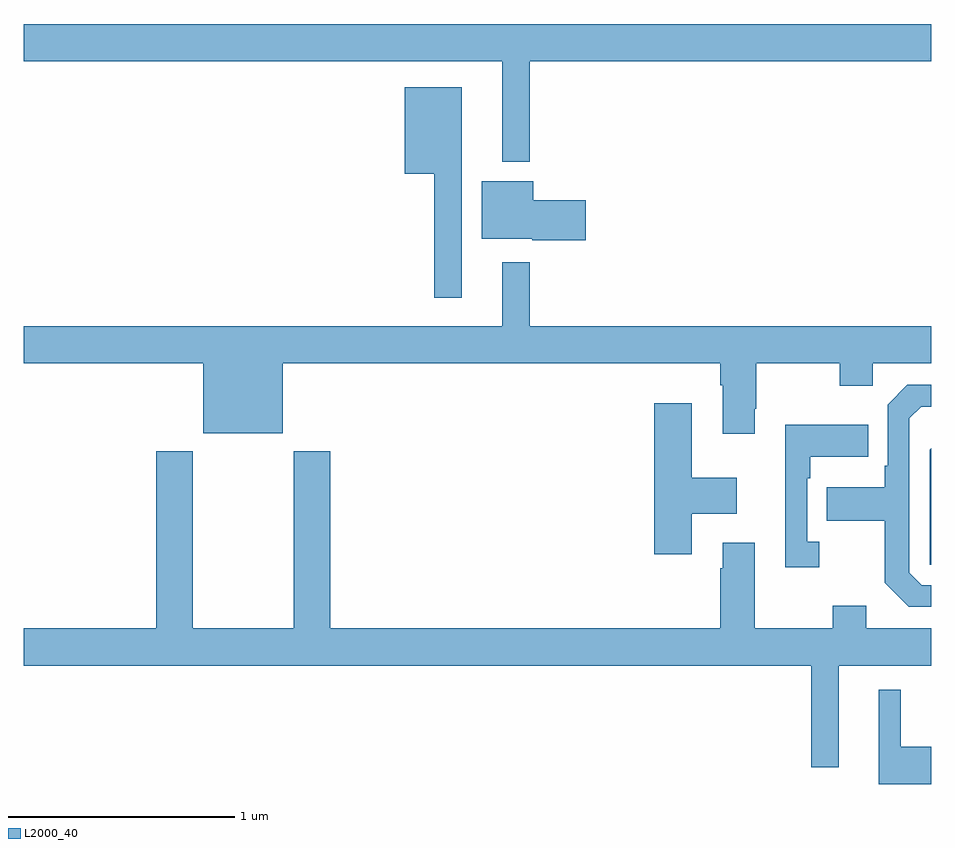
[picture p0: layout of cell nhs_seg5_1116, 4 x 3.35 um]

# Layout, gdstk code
import gdstk
lib = gdstk.Library(unit=1e-6, precision=1e-09)
def P(c, l, *ps):  # polygons
    for p in ps: c.add(gdstk.Polygon(p, *l))
L2000_40 = (2000, 40)

nhs_seg5_1116 = lib.new_cell('nhs_seg5_1116')
P(nhs_seg5_1116, L2000_40, [(181.231,890.06),(183,890.06),(183,890.224),(179,890.224),(179,890.06),(181.109,890.06),(181.109,889.616),(181.231,889.616)],
  [(180.931,889.945),(180.68,889.945),(180.68,889.565),(180.81,889.565),(180.81,889.017),(180.931,889.017)],
  [(181.477,889.448),(181.246,889.448),(181.246,889.531),(181.019,889.531),(181.019,889.277),(181.242,889.277),(181.242,889.27),(181.477,889.27)],
  [(181.231,889.174),(181.109,889.174),(181.109,888.892),(179,888.892),(179,888.728),(179.792,888.728),(179.792,888.419),(180.142,888.419),(180.142,888.728),(182.069,888.728),(182.069,888.632),(182.081,888.632),(182.081,888.417),(182.221,888.417),(182.221,888.529),(182.229,888.529),(182.229,888.728),(182.596,888.728),(182.596,888.629),(182.742,888.629),(182.742,888.728),(183,888.728),(183,888.892),(181.231,888.892)],
  [(183,887.751),(182.958,887.751),(182.904,887.805),(182.904,888.486),(182.955,888.537),(183,888.537),(183,888.633),(182.895,888.633),(182.808,888.546),(182.808,888.277),(182.796,888.277),(182.796,888.181),(182.539,888.181),(182.539,888.034),(182.796,888.034),(182.796,887.761),(182.901,887.655),(183,887.655)],
  [(181.945,888.065),(182.143,888.065),(182.143,888.223),(181.945,888.223),(181.945,888.553),(181.778,888.553),(181.778,887.886),(181.945,887.886)],
  [(182.506,887.942),(182.454,887.942),(182.454,888.221),(182.467,888.221),(182.467,888.317),(182.723,888.317),(182.723,888.457),(182.357,888.457),(182.357,887.829),(182.506,887.829)],
  [(183,888.354),(182.994,888.348),(182.994,887.841),(183,887.841)],
  [(182.593,887.396),(183,887.396),(183,887.56),(182.713,887.56),(182.713,887.659),(182.566,887.659),(182.566,887.56),(182.221,887.56),(182.221,887.938),(182.081,887.938),(182.081,887.825),(182.069,887.825),(182.069,887.56),(180.35,887.56),(180.35,888.34),(180.19,888.34),(180.19,887.56),(179.745,887.56),(179.745,888.34),(179.585,888.34),(179.585,887.56),(179,887.56),(179,887.396),(182.472,887.396),(182.472,886.947),(182.593,886.947)],
  [(183,887.038),(182.866,887.038),(182.866,887.29),(182.768,887.29),(182.768,886.874),(183,886.874)])

lib.write_gds('nhs_seg5_1116.gds')
